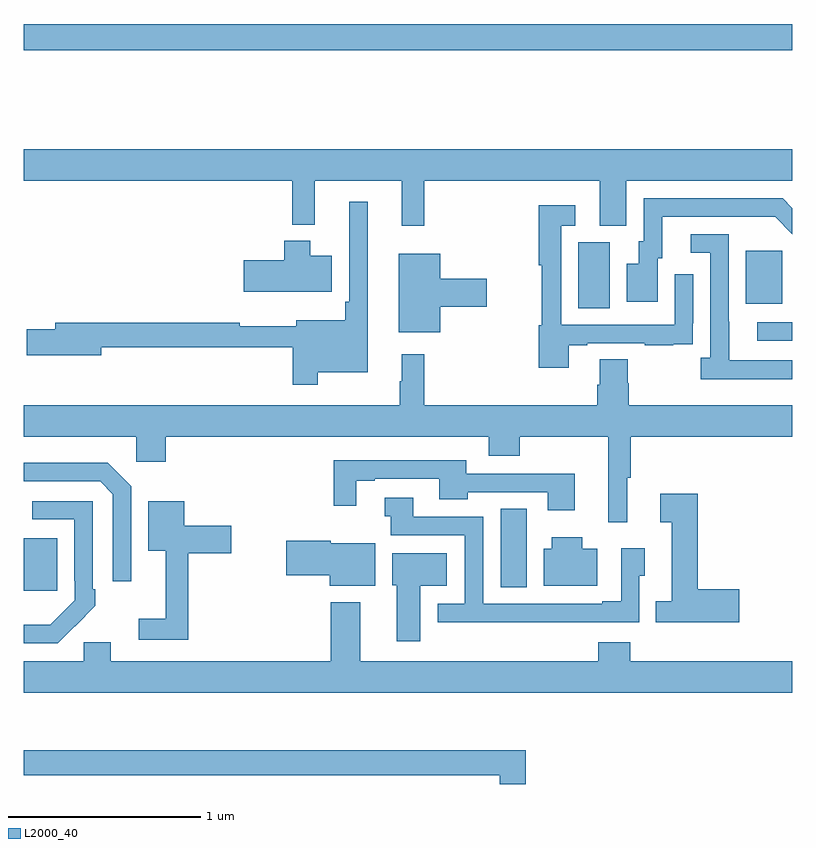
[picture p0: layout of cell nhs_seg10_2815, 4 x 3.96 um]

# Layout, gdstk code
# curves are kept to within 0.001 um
import gdstk
lib = gdstk.Library(unit=1e-6, precision=1e-09)
def R(c, l, rs):  # rectangles x0, y0, x1, y1
    for r in rs: c.add(gdstk.rectangle(r[:2], r[2:], *l))
def P(c, l, *ps):  # polygons
    for p in ps: c.add(gdstk.Polygon(p, *l))
L2000_40 = (2000, 40)

nhs_seg10_2815 = lib.new_cell('nhs_seg10_2815')
R(nhs_seg10_2815, L2000_40, [(263,1307.505,263.173,1307.779), (265.484,1307.524,265.618,1307.933), (266.817,1308.807,267,1308.903), (265.886,1308.976,266.05,1309.32), (266.759,1309.001,266.947,1309.276), (263,1310.32,267,1310.456)])
P(nhs_seg10_2815, L2000_40, [(266.137,1309.64),(267,1309.64),(267,1309.804),(263,1309.804),(263,1309.64),(264.397,1309.64),(264.397,1309.412),(264.515,1309.412),(264.515,1309.64),(264.968,1309.64),(264.968,1309.407),(265.085,1309.407),(265.085,1309.64),(265.997,1309.64),(265.997,1309.405),(266.137,1309.405)],
  [(266.299,1309.236),(266.323,1309.236),(266.323,1309.452),(266.911,1309.452),(267,1309.362),(267,1309.498),(266.95,1309.548),(266.226,1309.548),(266.226,1309.326),(266.201,1309.326),(266.201,1309.207),(266.138,1309.207),(266.138,1309.011),(266.299,1309.011)],
  [(264.529,1308.644),(264.79,1308.644),(264.79,1309.531),(264.693,1309.531),(264.693,1309.009),(264.673,1309.009),(264.673,1308.913),(264.419,1308.913),(264.419,1308.883),(264.123,1308.883),(264.123,1308.902),(263.165,1308.902),(263.165,1308.866),(263.016,1308.866),(263.016,1308.731),(263.404,1308.731),(263.404,1308.774),(264.4,1308.774),(264.4,1308.579),(264.529,1308.579)],
  [(265.837,1308.783),(265.933,1308.783),(265.933,1308.795),(266.233,1308.795),(266.233,1308.783),(266.381,1308.783),(266.381,1308.789),(266.483,1308.789),(266.483,1308.898),(266.484,1308.898),(266.484,1309.153),(266.388,1309.153),(266.388,1308.891),(265.797,1308.891),(265.797,1309.407),(265.87,1309.407),(265.87,1309.513),(265.681,1309.513),(265.681,1309.2),(265.696,1309.2),(265.696,1308.888),(265.681,1308.888),(265.681,1308.666),(265.837,1308.666)],
  [(267,1308.705),(266.671,1308.705),(266.671,1308.905),(266.67,1308.905),(266.67,1309.362),(266.472,1309.362),(266.472,1309.266),(266.574,1309.266),(266.574,1308.718),(266.523,1308.718),(266.523,1308.608),(267,1308.608)],
  [(264.604,1309.249),(264.49,1309.249),(264.49,1309.327),(264.356,1309.327),(264.356,1309.227),(264.144,1309.227),(264.144,1309.061),(264.604,1309.061)],
  [(265.168,1308.983),(265.411,1308.983),(265.411,1309.13),(265.168,1309.13),(265.168,1309.261),(264.953,1309.261),(264.953,1308.851),(265.168,1308.851)],
  [(266.14,1308.093),(266.159,1308.093),(266.159,1308.308),(267,1308.308),(267,1308.472),(266.15,1308.472),(266.15,1308.585),(266.145,1308.585),(266.145,1308.71),(265.997,1308.71),(265.997,1308.578),(265.985,1308.578),(265.985,1308.472),(265.085,1308.472),(265.085,1308.736),(264.968,1308.736),(264.968,1308.596),(264.957,1308.596),(264.957,1308.472),(263,1308.472),(263,1308.308),(263.586,1308.308),(263.586,1308.177),(263.738,1308.177),(263.738,1308.308),(265.421,1308.308),(265.421,1308.209),(265.581,1308.209),(265.581,1308.308),(266.042,1308.308),(266.042,1307.862),(266.14,1307.862)],
  [(265.867,1308.114),(265.303,1308.114),(265.303,1308.186),(264.613,1308.186),(264.613,1307.949),(264.73,1307.949),(264.73,1308.078),(264.826,1308.078),(264.826,1308.09),(265.163,1308.09),(265.163,1307.981),(265.311,1307.981),(265.311,1308.018),(265.727,1308.018),(265.727,1307.925),(265.867,1307.925)],
  [(263.559,1308.051),(263.438,1308.172),(263,1308.172),(263,1308.075),(263.397,1308.075),(263.463,1308.009),(263.463,1307.556),(263.559,1307.556)],
  [(266.725,1307.513),(266.507,1307.513),(266.507,1308.01),(266.313,1308.01),(266.313,1307.863),(266.372,1307.863),(266.372,1307.452),(266.29,1307.452),(266.29,1307.342),(266.725,1307.342)],
  [(265.907,1307.343),(266.205,1307.343),(266.205,1307.583),(266.233,1307.583),(266.233,1307.728),(266.109,1307.728),(266.109,1307.452),(266.012,1307.452),(266.012,1307.439),(265.392,1307.439),(265.392,1307.892),(265.027,1307.892),(265.027,1307.991),(264.879,1307.991),(264.879,1307.894),(264.91,1307.894),(264.91,1307.796),(265.296,1307.796),(265.296,1307.439),(265.155,1307.439),(265.155,1307.342),(265.907,1307.342)],
  [(263.267,1307.323),(263.268,1307.322),(263.373,1307.427),(263.373,1307.515),(263.358,1307.515),(263.358,1307.973),(263.043,1307.973),(263.043,1307.877),(263.262,1307.877),(263.262,1307.557),(263.265,1307.557),(263.265,1307.457),(263.137,1307.329),(263,1307.328),(263,1307.232),(263.176,1307.232)],
  [(263.855,1307.702),(264.079,1307.702),(264.079,1307.844),(263.836,1307.844),(263.836,1307.971),(263.648,1307.971),(263.648,1307.714),(263.738,1307.714),(263.738,1307.359),(263.598,1307.359),(263.598,1307.25),(263.855,1307.25)],
  [(265.984,1307.725),(265.906,1307.725),(265.906,1307.785),(265.748,1307.785),(265.748,1307.725),(265.706,1307.725),(265.706,1307.531),(265.984,1307.531)],
  [(264.829,1307.752),(264.597,1307.752),(264.597,1307.765),(264.366,1307.765),(264.366,1307.587),(264.593,1307.587),(264.593,1307.531),(264.829,1307.531)],
  [(265.063,1307.531),(265.201,1307.531),(265.201,1307.701),(264.917,1307.701),(264.917,1307.535),(264.941,1307.535),(264.941,1307.244),(265.063,1307.244)],
  [(267,1307.14),(266.156,1307.14),(266.156,1307.239),(265.991,1307.239),(265.991,1307.14),(264.751,1307.14),(264.751,1307.446),(264.599,1307.446),(264.599,1307.14),(263.452,1307.14),(263.452,1307.238),(263.313,1307.238),(263.313,1307.14),(263,1307.14),(263,1306.976),(267,1306.976)],
  [(265.613,1306.675),(263,1306.675),(263,1306.546),(265.477,1306.546),(265.477,1306.5),(265.613,1306.5)])

lib.write_gds('nhs_seg10_2815.gds')
